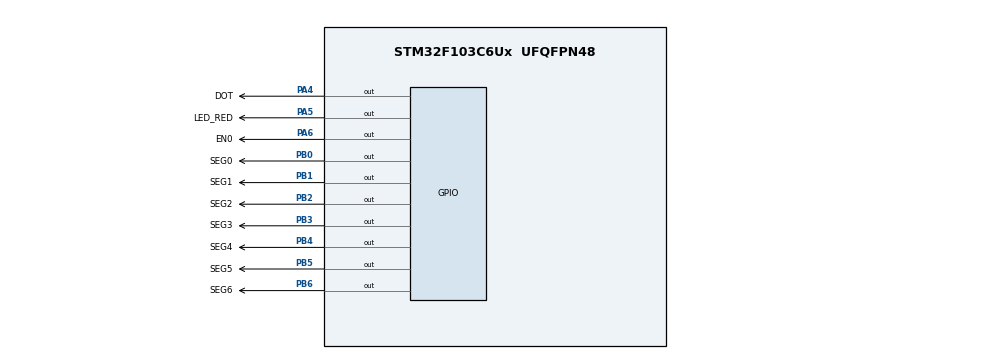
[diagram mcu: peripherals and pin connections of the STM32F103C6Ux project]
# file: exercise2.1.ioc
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Mcu.Family=STM32F1
Mcu.Name=STM32F103C6Ux
Mcu.Package=UFQFPN48
NVIC.PriorityGroup=NVIC_PRIORITYGROUP_4
NVIC.TIM2_IRQn=true\:0\:0\:false\:false\:true\:true\:true
PA4.GPIO_Label=DOT
PA4.Signal=GPIO_Output
PA5.GPIO_Label=LED_RED
PA5.Signal=GPIO_Output
PA6.GPIO_Label=EN0
PA6.PinState=GPIO_PIN_RESET
PA6.Signal=GPIO_Output
PB0.GPIO_Label=SEG0
PB0.Signal=GPIO_Output
PB1.GPIO_Label=SEG1
PB1.Signal=GPIO_Output
PB2.GPIO_Label=SEG2
PB2.Signal=GPIO_Output
PB3.GPIO_Label=SEG3
PB3.Signal=GPIO_Output
PB4.GPIO_Label=SEG4
PB4.Signal=GPIO_Output
PB5.GPIO_Label=SEG5
PB5.Signal=GPIO_Output
PB6.GPIO_Label=SEG6
PB6.Signal=GPIO_Output
ProjectManager.HeapSize=0x200
ProjectManager.StackSize=0x400
ProjectManager.TargetToolchain=STM32CubeIDE
RCC.APB1Freq_Value=8000000
RCC.APB2Freq_Value=8000000
TIM2.Period=9
TIM2.Prescaler=7999
VP_SYS_VS_ND.Mode=No_Debug
VP_TIM2_VS_ClockSourceINT.Mode=Internal
board=custom

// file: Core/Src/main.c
/* USER CODE BEGIN Header */
/**
  ******************************************************************************
  * @file           : main.c
  * @brief          : Main program body
  ******************************************************************************
  * @attention
  *
  * <h2><center>&copy; Copyright (c) 2026 STMicroelectronics.
  * All rights reserved.</center></h2>
  *
  * This software component is licensed by ST under BSD 3-Clause license,
  * the "License"; You may not use this file except in compliance with the
  * License. You may obtain a copy of the License at:
  *                        opensource.org/licenses/BSD-3-Clause
  *
  ******************************************************************************
  */
/* USER CODE END Header */
#include "main.h"

TIM_HandleTypeDef htim2;

void SystemClock_Config(void);
static void MX_GPIO_Init(void);
static void MX_TIM2_Init(void);

/* USER CODE BEGIN 0 */
void display7SEG(int num) {
	if (num < 0 || num > 9) return;
	    // Bảng trạng thái trực tiếp của 7 nét (a, b, c, d, e, f, g)
	    // Mức 0 = Sáng, Mức 1 = Tắt
	    const GPIO_PinState led_map[10][7] = {
	        {0, 0, 0, 0, 0, 0, 1}, // Số 0 (Chỉ tắt nét g)
	        {1, 0, 0, 1, 1, 1, 1}, // Số 1 (Chỉ sáng b, c)
	        {0, 0, 1, 0, 0, 1, 0}, // Số 2
	        {0, 0, 0, 0, 1, 1, 0}, // Số 3
	        {1, 0, 0, 1, 1, 0, 0}, // Số 4
	        {0, 1, 0, 0, 1, 0, 0}, // Số 5
	        {0, 1, 0, 0, 0, 0, 0}, // Số 6
	        {0, 0, 0, 1, 1, 1, 1}, // Số 7
	        {0, 0, 0, 0, 0, 0, 0}, // Số 8 (Sáng tất cả)
	        {0, 0, 0, 0, 1, 0, 0}  // Số 9
	    };

	    // Xuất thẳng trạng thái từ mảng ra các chân GPIO
	    HAL_GPIO_WritePin(GPIOB, SEG0_Pin, led_map[num][0]);
	    HAL_GPIO_WritePin(GPIOB, SEG1_Pin, led_map[num][1]);
	    HAL_GPIO_WritePin(GPIOB, SEG2_Pin, led_map[num][2]);
	    HAL_GPIO_WritePin(GPIOB, SEG3_Pin, led_map[num][3]);
	    HAL_GPIO_WritePin(GPIOB, SEG4_Pin, led_map[num][4]);
	    HAL_GPIO_WritePin(GPIOB, SEG5_Pin, led_map[num][5]);
	    HAL_GPIO_WritePin(GPIOB, SEG6_Pin, led_map[num][6]);

}
/* USER CODE END 0 */

int main(void)
{

  /* MCU Configuration--------------------------------------------------------*/

  /* Reset of all peripherals, Initializes the Flash interface and the Systick. */
  HAL_Init();

  /* Configure the system clock */
  SystemClock_Config();

  /* Initialize all configured peripherals */
  MX_GPIO_Init();
  MX_TIM2_Init();
  /* USER CODE BEGIN 2 */
//HAL_TIM_Base_Start_IT(&htim2);
//setTimer1(50);
//setTimer2(100);
  /* USER CODE END 2 */
  HAL_GPIO_WritePin(GPIOA, EN0_Pin, RESET);
  display7SEG(4);
  /* Infinite loop */
  while (1)
  {

  }
}

void SystemClock_Config(void)
{
  RCC_OscInitTypeDef RCC_OscInitStruct = {0};
  RCC_ClkInitTypeDef RCC_ClkInitStruct = {0};

  /** Initializes the RCC Oscillators according to the specified parameters
  * in the RCC_OscInitTypeDef structure.
  */
  RCC_OscInitStruct.OscillatorType = RCC_OSCILLATORTYPE_HSI;
  RCC_OscInitStruct.HSIState = RCC_HSI_ON;
  RCC_OscInitStruct.HSICalibrationValue = RCC_HSICALIBRATION_DEFAULT;
  RCC_OscInitStruct.PLL.PLLState = RCC_PLL_NONE;
  if (HAL_RCC_OscConfig(&RCC_OscInitStruct) != HAL_OK)
  {
    Error_Handler();
  }
  /** Initializes the CPU, AHB and APB buses clocks
  */
  RCC_ClkInitStruct.ClockType = RCC_CLOCKTYPE_HCLK|RCC_CLOCKTYPE_SYSCLK
                              |RCC_CLOCKTYPE_PCLK1|RCC_CLOCKTYPE_PCLK2;
  RCC_ClkInitStruct.SYSCLKSource = RCC_SYSCLKSOURCE_HSI;
  RCC_ClkInitStruct.AHBCLKDivider = RCC_SYSCLK_DIV1;
  RCC_ClkInitStruct.APB1CLKDivider = RCC_HCLK_DIV1;
  RCC_ClkInitStruct.APB2CLKDivider = RCC_HCLK_DIV1;

  if (HAL_RCC_ClockConfig(&RCC_ClkInitStruct, FLASH_LATENCY_0) != HAL_OK)
  {
    Error_Handler();
  }
}

static void MX_TIM2_Init(void)
{

  TIM_ClockConfigTypeDef sClockSourceConfig = {0};
  TIM_MasterConfigTypeDef sMasterConfig = {0};

  htim2.Instance = TIM2;
  htim2.Init.Prescaler = 7999;
  htim2.Init.CounterMode = TIM_COUNTERMODE_UP;
  htim2.Init.Period = 9;
  htim2.Init.ClockDivision = TIM_CLOCKDIVISION_DIV1;
  htim2.Init.AutoReloadPreload = TIM_AUTORELOAD_PRELOAD_DISABLE;
  if (HAL_TIM_Base_Init(&htim2) != HAL_OK)
  {
    Error_Handler();
  }
  sClockSourceConfig.ClockSource = TIM_CLOCKSOURCE_INTERNAL;
  if (HAL_TIM_ConfigClockSource(&htim2, &sClockSourceConfig) != HAL_OK)
  {
    Error_Handler();
  }
  sMasterConfig.MasterOutputTrigger = TIM_TRGO_RESET;
  sMasterConfig.MasterSlaveMode = TIM_MASTERSLAVEMODE_DISABLE;
  if (HAL_TIMEx_MasterConfigSynchronization(&htim2, &sMasterConfig) != HAL_OK)
  {
    Error_Handler();
  }

}

static void MX_GPIO_Init(void)
{
  GPIO_InitTypeDef GPIO_InitStruct = {0};

  /* GPIO Ports Clock Enable */
  __HAL_RCC_GPIOA_CLK_ENABLE();
  __HAL_RCC_GPIOB_CLK_ENABLE();

  /*Configure GPIO pin Output Level */
  HAL_GPIO_WritePin(GPIOA, DOT_Pin|LED_RED_Pin|EN0_Pin, GPIO_PIN_RESET);

  /*Configure GPIO pin Output Level */
  HAL_GPIO_WritePin(GPIOB, SEG0_Pin|SEG1_Pin|SEG2_Pin|SEG3_Pin
                          |SEG4_Pin|SEG5_Pin|SEG6_Pin, GPIO_PIN_RESET);

  /*Configure GPIO pins : DOT_Pin LED_RED_Pin EN0_Pin */
  GPIO_InitStruct.Pin = DOT_Pin|LED_RED_Pin|EN0_Pin;
  GPIO_InitStruct.Mode = GPIO_MODE_OUTPUT_PP;
  GPIO_InitStruct.Pull = GPIO_NOPULL;
  GPIO_InitStruct.Speed = GPIO_SPEED_FREQ_LOW;
  HAL_GPIO_Init(GPIOA, &GPIO_InitStruct);

  /*Configure GPIO pins : SEG0_Pin SEG1_Pin SEG2_Pin SEG3_Pin
                           SEG4_Pin SEG5_Pin SEG6_Pin */
  GPIO_InitStruct.Pin = SEG0_Pin|SEG1_Pin|SEG2_Pin|SEG3_Pin
                          |SEG4_Pin|SEG5_Pin|SEG6_Pin;
  GPIO_InitStruct.Mode = GPIO_MODE_OUTPUT_PP;
  GPIO_InitStruct.Pull = GPIO_NOPULL;
  GPIO_InitStruct.Speed = GPIO_SPEED_FREQ_LOW;
  HAL_GPIO_Init(GPIOB, &GPIO_InitStruct);

}

/* USER CODE BEGIN 4 */
//void HAL_TIM_PeriodElapsedCallback(TIM_HandleTypeDef *htim){
//	if (htim->Instance == TIM2){
//			timerRun();
//
//			if(timer1_flag==1){
//				setTimer1(50);
//				HAL_GPIO_WritePin(GPIOA, EN0_Pin, GPIO_PIN_SET);
//				HAL_GPIO_WritePin(EN1_GPIO_Port, EN1_Pin, GPIO_PIN_SET);
//
//				display7SEG(1);
//				HAL_GPIO_WritePin(EN0_GPIO_Port, EN0_Pin, GPIO_PIN_RESET);
//
////					display7SEG(2);
////					HAL_GPIO_WritePin(EN1_GPIO_Port, EN1_Pin, GPIO_PIN_RESET);
//
//			}
//			if(timer2_flag == 1){
//				setTimer2(100);
//				HAL_GPIO_TogglePin(DOT_GPIO_Port,DOT_Pin);
//				HAL_GPIO_TogglePin(LED_RED_GPIO_Port, LED_RED_Pin);
//			}
//	}
//}
/* USER CODE END 4 */

void Error_Handler(void)
{
  __disable_irq();
  while (1)
  {
  }
}

/************************ (C) COPYRIGHT STMicroelectronics *****END OF FILE****/
